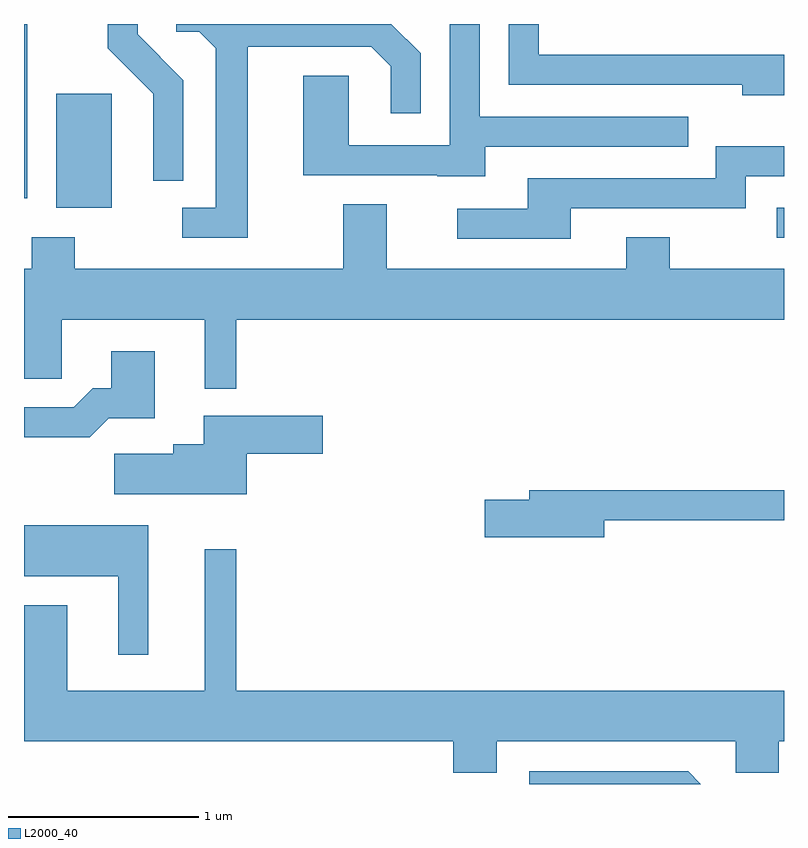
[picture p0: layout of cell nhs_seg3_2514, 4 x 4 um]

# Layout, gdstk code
import gdstk
lib = gdstk.Library(unit=1e-6, precision=1e-09)
def R(c, l, rs):  # rectangles x0, y0, x1, y1
    for r in rs: c.add(gdstk.rectangle(r[:2], r[2:], *l))
def P(c, l, *ps):  # polygons
    for p in ps: c.add(gdstk.Polygon(p, *l))
L2000_40 = (2000, 40)

nhs_seg3_2514 = lib.new_cell('nhs_seg3_2514')
R(nhs_seg3_2514, L2000_40, [(261.573,1250.766,261.611,1250.924), (257.781,1250.926,258.074,1251.524), (257.611,1250.976,257.629,1251.892)])
P(nhs_seg3_2514, L2000_40, [(261.611,1251.729),(260.319,1251.729),(260.319,1251.892),(260.161,1251.892),(260.161,1251.571),(261.391,1251.571),(261.391,1251.516),(261.611,1251.516)],
  [(258.449,1251.597),(258.209,1251.837),(258.209,1251.892),(258.051,1251.892),(258.051,1251.764),(258.291,1251.524),(258.291,1251.068),(258.449,1251.068)],
  [(258.789,1251.771),(259.439,1251.771),(259.541,1251.669),(259.541,1251.423),(259.699,1251.423),(259.699,1251.737),(259.544,1251.892),(258.413,1251.892),(258.413,1251.851),(258.534,1251.851),(258.621,1251.764),(258.621,1250.924),(258.443,1250.924),(258.443,1250.766),(258.789,1250.766)],
  [(260.039,1251.246),(261.108,1251.246),(261.108,1251.404),(260.009,1251.404),(260.009,1251.892),(259.851,1251.892),(259.851,1251.254),(259.319,1251.254),(259.319,1251.619),(259.081,1251.619),(259.081,1251.096),(259.785,1251.096),(259.785,1251.091),(260.039,1251.091)],
  [(260.489,1250.921),(261.409,1250.921),(261.409,1251.091),(261.611,1251.091),(261.611,1251.249),(261.251,1251.249),(261.251,1251.079),(260.261,1251.079),(260.261,1250.919),(259.892,1250.919),(259.892,1250.761),(260.489,1250.761)],
  [(258.729,1250.336),(261.611,1250.336),(261.611,1250.604),(261.009,1250.604),(261.009,1250.769),(260.781,1250.769),(260.781,1250.604),(259.519,1250.604),(259.519,1250.944),(259.291,1250.944),(259.291,1250.604),(257.879,1250.604),(257.879,1250.769),(257.651,1250.769),(257.651,1250.604),(257.611,1250.604),(257.611,1250.026),(257.809,1250.026),(257.809,1250.336),(258.561,1250.336),(258.561,1249.973),(258.729,1249.973)],
  [(258.057,1249.816),(258.299,1249.816),(258.299,1250.169),(258.071,1250.169),(258.071,1249.974),(257.974,1249.974),(257.873,1249.874),(257.611,1249.874),(257.611,1249.716),(257.957,1249.716)],
  [(258.784,1249.631),(259.184,1249.631),(259.184,1249.829),(258.556,1249.829),(258.556,1249.679),(258.396,1249.679),(258.396,1249.629),(258.086,1249.629),(258.086,1249.416),(258.784,1249.416)],
  [(260.664,1249.281),(261.611,1249.281),(261.611,1249.439),(260.271,1249.439),(260.271,1249.389),(260.036,1249.389),(260.036,1249.191),(260.664,1249.191)],
  [(258.264,1249.254),(257.611,1249.254),(257.611,1248.986),(258.106,1248.986),(258.106,1248.573),(258.264,1248.573)],
  [(260.099,1248.116),(261.356,1248.116),(261.356,1247.951),(261.584,1247.951),(261.584,1248.116),(261.611,1248.116),(261.611,1248.384),(258.729,1248.384),(258.729,1249.128),(258.561,1249.128),(258.561,1248.384),(257.839,1248.384),(257.839,1248.834),(257.611,1248.834),(257.611,1248.116),(259.871,1248.116),(259.871,1247.951),(260.099,1247.951)],
  [(261.106,1247.959),(260.271,1247.959),(260.271,1247.892),(261.173,1247.892)])

lib.write_gds('nhs_seg3_2514.gds')
